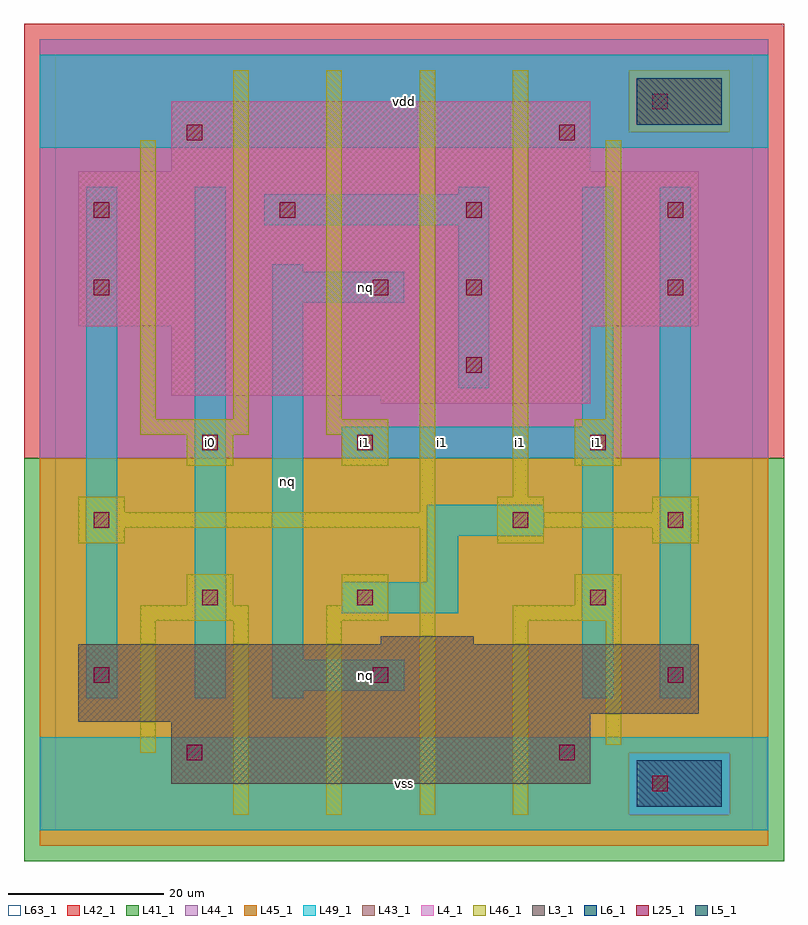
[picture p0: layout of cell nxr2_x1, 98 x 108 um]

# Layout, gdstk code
import gdstk
lib = gdstk.Library(unit=1e-6, precision=1e-09)
def R(c, l, rs):  # rectangles x0, y0, x1, y1
    for r in rs: c.add(gdstk.rectangle(r[:2], r[2:], *l))
def A(c, l, x, y, w, h, nx, ny, dx, dy):  # array of equal rectangles
    R(c, l, [(x+i*dx, y+j*dy, x+i*dx+w, y+j*dy+h) for i in range(nx) for j in range(ny)])
L3_1 = (3, 1)
L4_1 = (4, 1)
L5_1 = (5, 1)
L6_1 = (6, 1)
L25_1 = (25, 1)
L41_1 = (41, 1)
L42_1 = (42, 1)
L43_1 = (43, 1)
L44_1 = (44, 1)
L45_1 = (45, 1)
L46_1 = (46, 1)
L49_1 = (49, 1)
L63_1 = (63, 1)

nxr2_x1 = lib.new_cell('nxr2_x1')
R(nxr2_x1, L3_1, [(15,6,69,14), (3,14,69,15), (3,15,83,24), (42,24,54,25)])
R(nxr2_x1, L4_1, [(42,55,69,56), (15,56,69,65), (3,65,83,85), (15,85,69,94)])
R(nxr2_x1, L5_1, [(75,91,86,97)])
R(nxr2_x1, L6_1, [(75,3,86,9), (75,3,86,9)])
A(nxr2_x1, L25_1, 5, 79, 2, 2, 3, 1, 24, 0)
R(nxr2_x1, L25_1, [(77,5,79,7), (17,9,19,11), (65,9,67,11), (5,19,7,21), (41,19,43,21), (79,19,81,21), (19,29,21,31), (39,29,41,31), (69,29,71,31), (5,39,7,41), (59,39,61,41), (79,39,81,41), (19,49,21,51), (39,49,41,51), (69,49,71,51), (53,59,55,61), (5,69,7,71), (41,69,43,71), (53,69,55,71), (79,69,81,71), (79,79,81,81), (17,89,19,91), (65,89,67,91), (77,93,79,95)])
R(nxr2_x1, L41_1, [(-4,-4,94,48)])
R(nxr2_x1, L42_1, [(-4,48,94,104)])
R(nxr2_x1, L43_1, [(75,3,86,9), (15,6,69,14), (3,14,69,15), (3,15,83,24), (42,24,54,25), (42,55,69,56), (15,56,69,65), (3,65,83,85), (15,85,69,94), (75,91,86,97)])
R(nxr2_x1, L44_1, [(74,2,87,10), (-2,48,92,90), (-2,90,74,98), (87,90,92,98), (-2,98,92,102)])
R(nxr2_x1, L45_1, [(-2,-2,92,2), (-2,2,74,10), (87,2,92,10), (-2,10,92,48), (74,90,87,98)])
R(nxr2_x1, L46_1, [(23,2,25,27), (35,2,37,27), (47,2,49,39), (59,2,61,27), (11,10,13,27), (71,11,73,27), (11,27,25,29), (35,27,43,29), (59,27,73,29), (17,29,23,33), (37,29,43,33), (67,29,73,33), (3,37,9,39), (57,37,63,39), (77,37,83,39), (3,39,49,41), (57,39,83,41), (3,41,9,43), (47,41,49,98), (57,41,63,43), (77,41,83,43), (59,43,61,98), (17,47,23,51), (37,47,43,51), (67,47,73,53), (11,51,25,53), (35,51,43,53), (11,53,13,89), (23,53,25,98), (35,53,37,98), (71,53,73,89)])
R(nxr2_x1, L49_1, [(-2,0,92,12), (4,17,8,83), (18,17,22,83), (28,17,32,18), (68,17,72,48), (78,17,82,83), (28,18,45,22), (28,22,32,68), (37,28,52,32), (48,32,52,38), (48,38,63,42), (37,48,72,52), (68,52,72,83), (52,57,56,78), (28,68,45,72), (28,72,32,73), (27,78,56,82), (52,82,56,83), (-2,88,92,100)])
R(nxr2_x1, L63_1, [(0,0,90,100)])
nxr2_x1.add(gdstk.Label('nq', (40,20), layer=49, texttype=1))
nxr2_x1.add(gdstk.Label('nq', (30,45), layer=49, texttype=1))
nxr2_x1.add(gdstk.Label('i1', (40,50), layer=49, texttype=1))
nxr2_x1.add(gdstk.Label('i0', (20,50), layer=49, texttype=1))
nxr2_x1.add(gdstk.Label('nq', (40,70), layer=49, texttype=1))
nxr2_x1.add(gdstk.Label('vss', (45,6), layer=49, texttype=1))
nxr2_x1.add(gdstk.Label('i1', (50,50), layer=49, texttype=1))
nxr2_x1.add(gdstk.Label('i1', (60,50), layer=49, texttype=1))
nxr2_x1.add(gdstk.Label('vdd', (45,94), layer=49, texttype=1))
nxr2_x1.add(gdstk.Label('i1', (70,50), layer=49, texttype=1))

lib.write_gds('nxr2_x1.gds')
